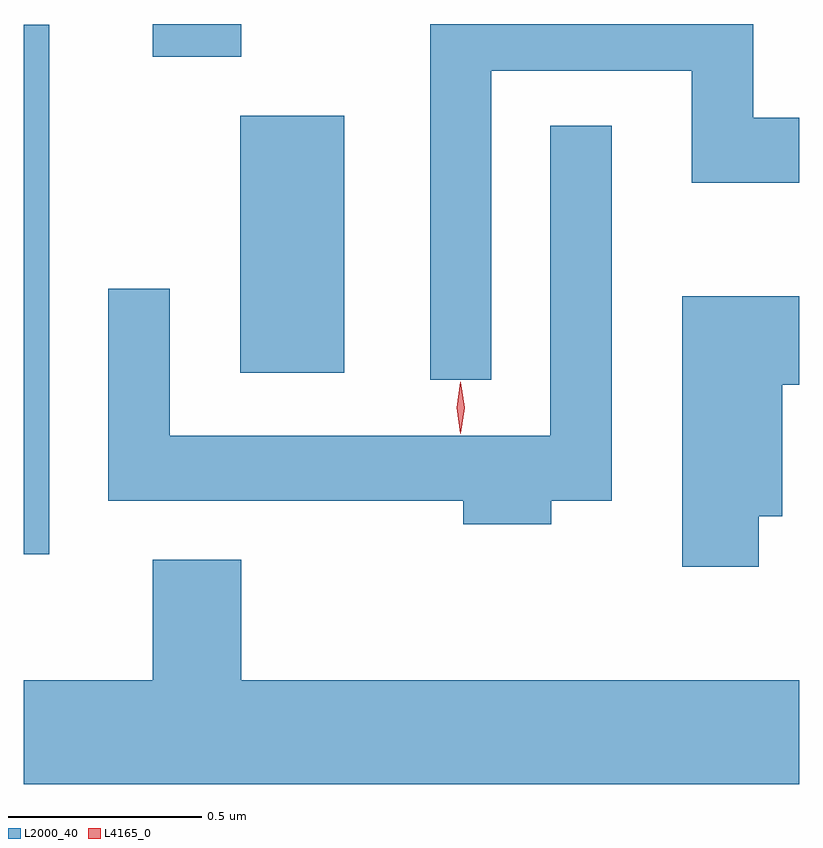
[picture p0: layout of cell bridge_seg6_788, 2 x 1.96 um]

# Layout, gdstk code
import gdstk
lib = gdstk.Library(unit=1e-6, precision=1e-09)
def R(c, l, rs):  # rectangles x0, y0, x1, y1
    for r in rs: c.add(gdstk.rectangle(r[:2], r[2:], *l))
def P(c, l, *ps):  # polygons
    for p in ps: c.add(gdstk.Polygon(p, *l))
L2000_40 = (2000, 40)
L4165_0 = (4165, 0)

bridge_seg6_788 = lib.new_cell('bridge_seg6_788')
R(bridge_seg6_788, L2000_40, [(497.388,1535.088,497.454,1536.454), (497.946,1535.556,498.214,1536.219), (497.721,1536.371,497.949,1536.456)])
P(bridge_seg6_788, L2000_40, [(498.594,1536.336),(499.111,1536.336),(499.111,1536.046),(499.388,1536.046),(499.388,1536.214),(499.269,1536.214),(499.269,1536.456),(498.436,1536.456),(498.436,1535.538),(498.594,1535.538)],
  [(498.749,1535.226),(498.904,1535.226),(498.904,1536.193),(498.746,1536.193),(498.746,1535.394),(497.764,1535.394),(497.764,1535.773),(497.606,1535.773),(497.606,1535.226),(498.521,1535.226),(498.521,1535.166),(498.749,1535.166)],
  [(499.284,1535.186),(499.344,1535.186),(499.344,1535.526),(499.388,1535.526),(499.388,1535.754),(499.086,1535.754),(499.086,1535.056),(499.284,1535.056)],
  [(499.388,1534.764),(497.949,1534.764),(497.949,1535.074),(497.721,1535.074),(497.721,1534.764),(497.388,1534.764),(497.388,1534.496),(499.388,1534.496)])
P(bridge_seg6_788, L4165_0, [(498.515,1535.399),(498.514,1535.4),(498.505,1535.466),(498.514,1535.532),(498.515,1535.533),(498.515,1535.532),(498.525,1535.466),(498.515,1535.4)])

lib.write_gds('bridge_seg6_788.gds')
